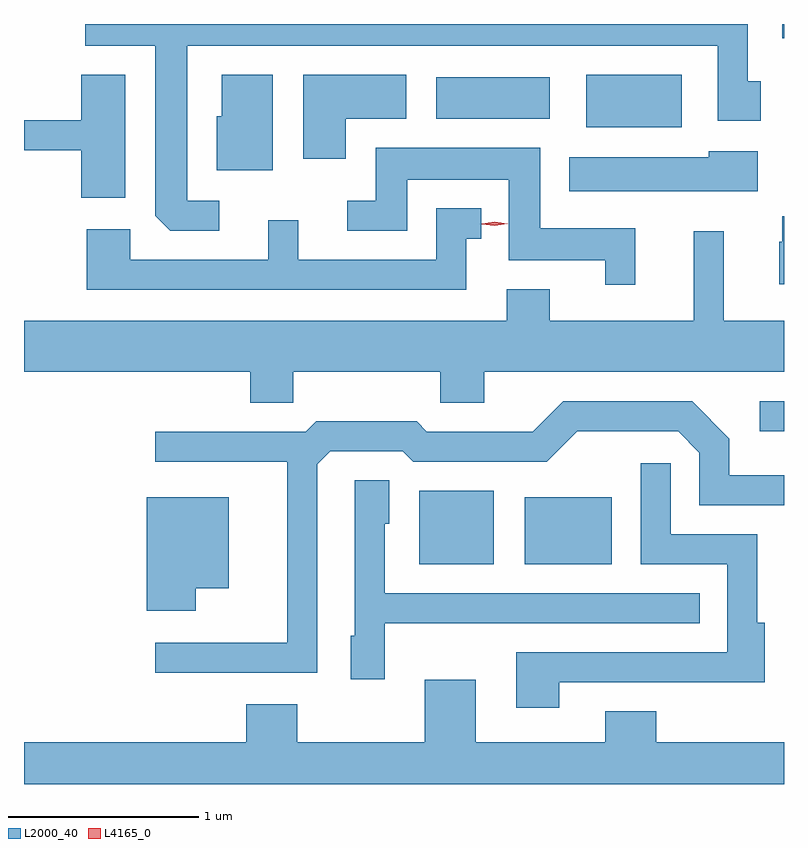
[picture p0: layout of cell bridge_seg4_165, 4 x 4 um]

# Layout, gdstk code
import gdstk
lib = gdstk.Library(unit=1e-6, precision=1e-09)
def R(c, l, rs):  # rectangles x0, y0, x1, y1
    for r in rs: c.add(gdstk.rectangle(r[:2], r[2:], *l))
def P(c, l, *ps):  # polygons
    for p in ps: c.add(gdstk.Polygon(p, *l))
L2000_40 = (2000, 40)
L4165_0 = (4165, 0)

bridge_seg4_165 = lib.new_cell('bridge_seg4_165')
R(bridge_seg4_165, L2000_40, [(948.931,1260.421,949.324,1260.809), (949.486,1260.421,949.944,1260.774), (950.723,1261.121,950.851,1261.279), (949.811,1262.721,950.314,1262.999), (949.021,1262.766,949.619,1262.984), (950.841,1263.191,950.851,1263.265)])
P(bridge_seg4_165, L2000_40, [(947.878,1262.334),(947.709,1262.334),(947.709,1263.151),(950.501,1263.151),(950.501,1262.756),(950.729,1262.756),(950.729,1262.964),(950.659,1262.964),(950.659,1263.265),(947.173,1263.265),(947.173,1263.151),(947.541,1263.151),(947.541,1262.257),(947.622,1262.176),(947.878,1262.176)],
  [(947.384,1262.999),(947.151,1262.999),(947.151,1262.759),(946.851,1262.759),(946.851,1262.601),(947.151,1262.601),(947.151,1262.351),(947.384,1262.351)],
  [(948.159,1262.999),(947.891,1262.999),(947.891,1262.779),(947.866,1262.779),(947.866,1262.496),(948.159,1262.496)],
  [(948.544,1262.766),(948.864,1262.766),(948.864,1262.999),(948.321,1262.999),(948.321,1262.556),(948.544,1262.556)],
  [(950.069,1262.189),(949.569,1262.189),(949.569,1262.614),(948.701,1262.614),(948.701,1262.334),(948.553,1262.334),(948.553,1262.176),(948.869,1262.176),(948.869,1262.446),(949.401,1262.446),(949.401,1262.021),(949.911,1262.021),(949.911,1261.893),(950.069,1261.893)],
  [(950.714,1262.594),(950.456,1262.594),(950.456,1262.564),(949.721,1262.564),(949.721,1262.386),(950.714,1262.386)],
  [(949.179,1262.136),(949.258,1262.136),(949.258,1262.294),(949.021,1262.294),(949.021,1262.024),(948.294,1262.024),(948.294,1262.233),(948.136,1262.233),(948.136,1262.024),(947.409,1262.024),(947.409,1262.184),(947.181,1262.184),(947.181,1261.866),(949.179,1261.866)],
  [(950.851,1262.254),(950.841,1262.254),(950.841,1262.12),(950.826,1262.12),(950.826,1261.896),(950.851,1261.896)],
  [(948.269,1261.436),(949.041,1261.436),(949.041,1261.271),(949.274,1261.271),(949.274,1261.436),(950.851,1261.436),(950.851,1261.704),(950.534,1261.704),(950.534,1262.173),(950.376,1262.173),(950.376,1261.704),(949.619,1261.704),(949.619,1261.869),(949.391,1261.869),(949.391,1261.704),(946.851,1261.704),(946.851,1261.436),(948.041,1261.436),(948.041,1261.271),(948.269,1261.271)],
  [(948.394,1260.949),(948.462,1261.016),(948.844,1261.016),(948.899,1260.961),(949.602,1260.961),(949.762,1261.121),(950.294,1261.121),(950.406,1261.009),(950.406,1260.731),(950.851,1260.731),(950.851,1260.889),(950.564,1260.889),(950.564,1261.082),(950.367,1261.279),(949.689,1261.279),(949.529,1261.119),(948.972,1261.119),(948.917,1261.174),(948.389,1261.174),(948.334,1261.119),(947.543,1261.119),(947.543,1260.961),(948.236,1260.961),(948.236,1260.009),(947.543,1260.009),(947.543,1259.851),(948.394,1259.851)],
  [(949.669,1259.801),(950.749,1259.801),(950.749,1260.114),(950.709,1260.114),(950.709,1260.579),(950.254,1260.579),(950.254,1260.953),(950.096,1260.953),(950.096,1260.421),(950.551,1260.421),(950.551,1259.959),(949.441,1259.959),(949.441,1259.666),(949.669,1259.666)],
  [(948.749,1260.111),(950.408,1260.111),(950.408,1260.269),(948.749,1260.269),(948.749,1260.636),(948.774,1260.636),(948.774,1260.864),(948.591,1260.864),(948.591,1260.044),(948.571,1260.044),(948.571,1259.816),(948.749,1259.816)],
  [(947.754,1260.296),(947.929,1260.296),(947.929,1260.774),(947.496,1260.774),(947.496,1260.176),(947.754,1260.176)],
  [(950.851,1259.484),(950.179,1259.484),(950.179,1259.649),(949.911,1259.649),(949.911,1259.484),(949.229,1259.484),(949.229,1259.814),(948.961,1259.814),(948.961,1259.484),(948.289,1259.484),(948.289,1259.684),(948.021,1259.684),(948.021,1259.484),(946.851,1259.484),(946.851,1259.265),(950.851,1259.265)])
P(bridge_seg4_165, L4165_0, [(949.328,1262.203),(949.259,1262.212),(949.259,1262.213),(949.259,1262.213),(949.328,1262.223),(949.398,1262.214),(949.398,1262.214),(949.398,1262.213)])

lib.write_gds('bridge_seg4_165.gds')
